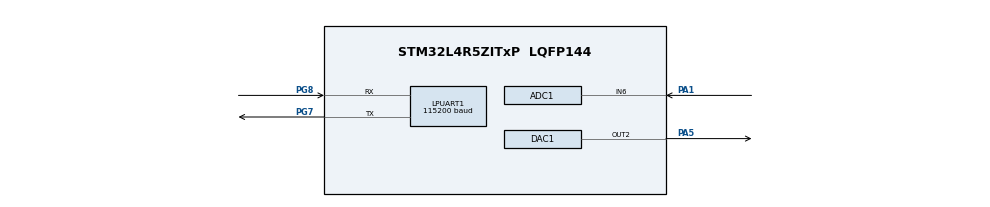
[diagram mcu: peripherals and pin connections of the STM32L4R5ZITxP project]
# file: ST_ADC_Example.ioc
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ADC1.Channel-0\#ChannelRegularConversion=ADC_CHANNEL_6
ADC1.ClockPrescaler=ADC_CLOCK_ASYNC_DIV64
ADC1.ContinuousConvMode=ENABLE
ADC1.NbrOfConversionFlag=1
ADC1.OffsetNumber-0\#ChannelRegularConversion=ADC_OFFSET_NONE
ADC1.Rank-0\#ChannelRegularConversion=1
ADC1.SamplingTime-0\#ChannelRegularConversion=ADC_SAMPLETIME_92CYCLES_5
ADC1.master=1
DAC1.DAC_Channel-DAC_OUT2=DAC_CHANNEL_2
Dma.ADC1.0.Direction=DMA_PERIPH_TO_MEMORY
Dma.ADC1.0.EventEnable=DISABLE
Dma.ADC1.0.Instance=DMA1_Channel1
Dma.ADC1.0.MemDataAlignment=DMA_MDATAALIGN_HALFWORD
Dma.ADC1.0.MemInc=DMA_MINC_ENABLE
Dma.ADC1.0.Mode=DMA_CIRCULAR
Dma.ADC1.0.PeriphDataAlignment=DMA_PDATAALIGN_HALFWORD
Dma.ADC1.0.PeriphInc=DMA_PINC_DISABLE
Dma.ADC1.0.Polarity=HAL_DMAMUX_REQUEST_GEN_RISING
Dma.ADC1.0.Priority=DMA_PRIORITY_LOW
Dma.ADC1.0.RequestNumber=1
Dma.ADC1.0.SignalID=NONE
Dma.ADC1.0.SyncEnable=DISABLE
Dma.ADC1.0.SyncPolarity=HAL_DMAMUX_SYNC_NO_EVENT
Dma.ADC1.0.SyncRequestNumber=1
Dma.ADC1.0.SyncSignalID=NONE
Dma.Request0=ADC1
LPUART1.BaudRate=115200
LPUART1.WordLength=UART_WORDLENGTH_8B
Mcu.Family=STM32L4
Mcu.Name=STM32L4R5ZITxP
Mcu.Package=LQFP144
NVIC.DMA1_Channel1_IRQn=true\:0\:0\:false\:false\:true\:false\:true\:true
NVIC.PriorityGroup=NVIC_PRIORITYGROUP_4
PA0.Signal=S_TIM2_CH1
PA1.Signal=ADCx_IN6
PA10.Signal=USB_OTG_FS_ID
PA13\ (JTMS/SWDIO).Signal=SYS_JTMS-SWDIO
PA14\ (JTCK/SWCLK).Signal=SYS_JTCK-SWCLK
PA3.Signal=ADCx_IN8
PA4.Signal=SPI1_NSS
PA5.Signal=COMP_DAC12_group
PA6.Signal=SPI1_MISO
PA7.Signal=SPI1_MOSI
PA8.Signal=USB_OTG_FS_SOF
PA9.Signal=USB_OTG_FS_VBUS
PB0.Signal=S_TIM3_CH3
PB1.Signal=ADCx_IN16
PB10.Signal=S_TIM2_CH3
PB12.Signal=SAI2_FS_A
PB13.Signal=SAI2_SCK_A
PB14.Signal=S_TIM15_CH1
PB15.Signal=SAI2_SD_A
PB2.Signal=COMP1_INP
PB3\ (JTDO/TRACESWO).Signal=SPI3_SCK
PB4\ (NJTRST).Signal=SPI3_MISO
PB5.Signal=SPI3_MOSI
PB6.Signal=COMP2_INP
PB8.Signal=I2C1_SCL
PB9.Signal=I2C1_SDA
PC0.Signal=ADCx_IN1
PC1.Signal=ADCx_IN2
PC10.Signal=SDMMC1_D2
PC11.Signal=SDMMC1_D3
PC12.Signal=SDMMC1_CK
PC13.Signal=SYS_WKUP2
PC14-OSC32_IN\ (PC14).Signal=RCC_OSC32_IN
PC15-OSC32_OUT\ (PC15).Signal=RCC_OSC32_OUT
PC2.Signal=ADCx_IN3
PC3.Signal=ADCx_IN4
PC4.Signal=ADCx_IN13
PC5.Signal=ADCx_IN14
PC6.Signal=SAI2_MCLK_A
PC7.Signal=S_TIM3_CH2
PC8.Signal=SDMMC1_D0
PC9.Signal=SDMMC1_D1
PD0.Signal=CAN1_RX
PD14.Signal=S_TIM4_CH3
PD15.Signal=S_TIM4_CH4
PD2.Signal=SDMMC1_CMD
PD3.Signal=USART2_CTS
PD4.Signal=USART2_RTS
PD5.Signal=USART2_TX
PD6.Signal=USART2_RX
PD8.Signal=USART3_TX
PD9.Signal=USART3_RX
PE0.Signal=S_TIM4_ETR
PE10.Signal=TIM1_CH2N
PE11.Signal=S_TIM1_CH2
PE12.Signal=TIM1_CH3N
PE13.Signal=S_TIM1_CH3
PE14.Signal=TIM1_BKIN2
PE15.Signal=TIM1_BKIN
PE2.Signal=SAI1_MCLK_A
PE3.Signal=SAI1_SD_B
PE7.Signal=S_TIM1_ETR
PE8.Signal=TIM1_CH1N
PE9.Signal=S_TIM1_CH1
PF0.Signal=I2C2_SDA
PF1.Signal=I2C2_SCL
PF2.Signal=I2C2_SMBA
PF7.Signal=SAI1_MCLK_B
PG7.Mode=Asynchronous
PG7.Signal=LPUART1_TX
PG8.Mode=Asynchronous
PG8.Signal=LPUART1_RX
PH0-OSC_IN\ (PH0).Signal=RCC_OSC_IN
PH1-OSC_OUT\ (PH1).Signal=RCC_OSC_OUT
ProjectManager.HeapSize=0x200
ProjectManager.StackSize=0x400
ProjectManager.TargetToolchain=STM32CubeIDE
RCC.HSE_VALUE=8000000
RCC.HSI48_VALUE=48000000
RCC.HSI_VALUE=16000000
RCC.LSE_VALUE=32768
RCC.MSI_VALUE=4000000
RCC.VCOOutputFreq_Value=32000000
SH.ADCx_IN1.0=ADC1_IN1
SH.ADCx_IN13.0=ADC1_IN13
SH.ADCx_IN14.0=ADC1_IN14
SH.ADCx_IN16.0=ADC1_IN16
SH.ADCx_IN2.0=ADC1_IN2
SH.ADCx_IN3.0=ADC1_IN3
SH.ADCx_IN4.0=ADC1_IN4
SH.ADCx_IN6.0=ADC1_IN6,IN6-Single-Ended
SH.ADCx_IN8.0=ADC1_IN8
SH.COMP_DAC12_group.0=DAC1_OUT2,DAC_OUT2
SH.S_TIM15_CH1.0=TIM15_CH1
SH.S_TIM1_CH1.0=TIM1_CH1
SH.S_TIM1_CH2.0=TIM1_CH2
SH.S_TIM1_CH3.0=TIM1_CH3
SH.S_TIM1_ETR.0=TIM1_ETR
SH.S_TIM2_CH1.0=TIM2_CH1
SH.S_TIM2_CH3.0=TIM2_CH3
SH.S_TIM3_CH2.0=TIM3_CH2
SH.S_TIM3_CH3.0=TIM3_CH3
SH.S_TIM4_CH3.0=TIM4_CH3
SH.S_TIM4_CH4.0=TIM4_CH4
SH.S_TIM4_ETR.0=TIM4_ETR
board=NUCLEO-L4R5ZI-P

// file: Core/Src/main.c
/* USER CODE BEGIN Header */
/**
  ******************************************************************************
  * @file           : main.c
  * @brief          : Main program body
  ******************************************************************************
  * @attention
  *
  * Copyright (c) 2025 STMicroelectronics.
  * All rights reserved.
  *
  * This software is licensed under terms that can be found in the LICENSE file
  * in the root directory of this software component.
  * If no LICENSE file comes with this software, it is provided AS-IS.
  *
  ******************************************************************************
  */
/* USER CODE END Header */
#include "main.h"

/* USER CODE BEGIN Includes */
#include "stdio.h"
#include <inttypes.h>
#include <math.h>

/* USER CODE END Includes */

ADC_HandleTypeDef hadc1;
DMA_HandleTypeDef hdma_adc1;

DAC_HandleTypeDef hdac1;

UART_HandleTypeDef hlpuart1;

/* USER CODE BEGIN PV */
uint32_t value_adc;
uint32_t value_dac=0;
/* USER CODE END PV */

void SystemClock_Config(void);
static void MX_GPIO_Init(void);
static void MX_DMA_Init(void);
static void MX_ADC1_Init(void);
static void MX_DAC1_Init(void);
static void MX_LPUART1_UART_Init(void);

/* USER CODE BEGIN 0 */
int __io_putchar(int ch)
	{
	HAL_UART_Transmit(&hlpuart1, (uint8_t *)&ch, 1, 10);
//	HAL_Delay(5);		// Slow Printing
	return ch;
	}
/* USER CODE END 0 */

int main(void)
{

  /* MCU Configuration--------------------------------------------------------*/

  /* Reset of all peripherals, Initializes the Flash interface and the Systick. */
  HAL_Init();

  /* Configure the system clock */
  SystemClock_Config();

  /* Initialize all configured peripherals */
  MX_GPIO_Init();
  MX_DMA_Init();
  MX_ADC1_Init();
  MX_DAC1_Init();
  MX_LPUART1_UART_Init();
  /* USER CODE BEGIN 2 */
  // https://wiki.st.com/stm32mcu/wiki/Getting_started_with_ADC#Configure_ADC
  HAL_DAC_Start(&hdac1,DAC_CHANNEL_2);
  HAL_ADCEx_Calibration_Start(&hadc1, ADC_SINGLE_ENDED);
  HAL_ADC_Start_DMA(&hadc1,(uint32_t*)&value_adc,1);

// Create a uint16_t array to hold the sin wave, which has 380 uint16_t samples
//  Approximately 100 kHz DAC output capability, and 262 Hz output frequency = 380 samples
  uint16_t sin_wave[380];
// Load the array with the sin wave values ranging from 0 to 4095 (12-bit)
  for(int i=0; i<380; i++) {
      sin_wave[i] = (uint16_t)(2047.5 + 2047.5 * sin(2 * 3.14159 * i / 380));
      printf("t, v: %d, %" PRIu16 "\r\n", i, sin_wave[i]);
    }

  /* USER CODE END 2 */

  /* Infinite loop */
  while (1)
  	{

	/* USER CODE BEGIN 3 */
	  	  printf("Hello DAC-ADC World! ");
	  	  HAL_DAC_SetValue(&hdac1, DAC_CHANNEL_2, DAC_ALIGN_12B_R, value_dac);
	  	  value_dac++;
	  	  if(value_dac>4095) {
	  	    value_dac=0;
	  	  	}
	  	  HAL_ADC_Start(&hadc1);
	  	  HAL_Delay(10);
	 //I google-searched "printf how to print uint32_t?"
	  	  printf("DAC1 OUT2 PA5 set to uint32_t: %" PRIu32 " and ADC1 IN6 PA1 reads uint32_t: %" PRIu32 "\n\r", value_dac, value_adc);
	  }
	  /* USER CODE END 3 */
}

void SystemClock_Config(void)
{
  RCC_OscInitTypeDef RCC_OscInitStruct = {0};
  RCC_ClkInitTypeDef RCC_ClkInitStruct = {0};

  /** Configure the main internal regulator output voltage
  */
  if (HAL_PWREx_ControlVoltageScaling(PWR_REGULATOR_VOLTAGE_SCALE1) != HAL_OK)
  {
    Error_Handler();
  }

  /** Initializes the RCC Oscillators according to the specified parameters
  * in the RCC_OscInitTypeDef structure.
  */
  RCC_OscInitStruct.OscillatorType = RCC_OSCILLATORTYPE_MSI;
  RCC_OscInitStruct.MSIState = RCC_MSI_ON;
  RCC_OscInitStruct.MSICalibrationValue = 0;
  RCC_OscInitStruct.MSIClockRange = RCC_MSIRANGE_6;
  RCC_OscInitStruct.PLL.PLLState = RCC_PLL_NONE;
  if (HAL_RCC_OscConfig(&RCC_OscInitStruct) != HAL_OK)
  {
    Error_Handler();
  }

  /** Initializes the CPU, AHB and APB buses clocks
  */
  RCC_ClkInitStruct.ClockType = RCC_CLOCKTYPE_HCLK|RCC_CLOCKTYPE_SYSCLK
                              |RCC_CLOCKTYPE_PCLK1|RCC_CLOCKTYPE_PCLK2;
  RCC_ClkInitStruct.SYSCLKSource = RCC_SYSCLKSOURCE_MSI;
  RCC_ClkInitStruct.AHBCLKDivider = RCC_SYSCLK_DIV1;
  RCC_ClkInitStruct.APB1CLKDivider = RCC_HCLK_DIV1;
  RCC_ClkInitStruct.APB2CLKDivider = RCC_HCLK_DIV1;

  if (HAL_RCC_ClockConfig(&RCC_ClkInitStruct, FLASH_LATENCY_0) != HAL_OK)
  {
    Error_Handler();
  }
}

static void MX_ADC1_Init(void)
{

  ADC_ChannelConfTypeDef sConfig = {0};

  /** Common config
  */
  hadc1.Instance = ADC1;
  hadc1.Init.ClockPrescaler = ADC_CLOCK_ASYNC_DIV64;
  hadc1.Init.Resolution = ADC_RESOLUTION_12B;
  hadc1.Init.DataAlign = ADC_DATAALIGN_RIGHT;
  hadc1.Init.ScanConvMode = ADC_SCAN_DISABLE;
  hadc1.Init.EOCSelection = ADC_EOC_SINGLE_CONV;
  hadc1.Init.LowPowerAutoWait = DISABLE;
  hadc1.Init.ContinuousConvMode = ENABLE;
  hadc1.Init.NbrOfConversion = 1;
  hadc1.Init.DiscontinuousConvMode = DISABLE;
  hadc1.Init.ExternalTrigConv = ADC_SOFTWARE_START;
  hadc1.Init.ExternalTrigConvEdge = ADC_EXTERNALTRIGCONVEDGE_NONE;
  hadc1.Init.DMAContinuousRequests = DISABLE;
  hadc1.Init.Overrun = ADC_OVR_DATA_PRESERVED;
  hadc1.Init.OversamplingMode = DISABLE;
  if (HAL_ADC_Init(&hadc1) != HAL_OK)
  {
    Error_Handler();
  }

  /** Configure Regular Channel
  */
  sConfig.Channel = ADC_CHANNEL_6;
  sConfig.Rank = ADC_REGULAR_RANK_1;
  sConfig.SamplingTime = ADC_SAMPLETIME_92CYCLES_5;
  sConfig.SingleDiff = ADC_SINGLE_ENDED;
  sConfig.OffsetNumber = ADC_OFFSET_NONE;
  sConfig.Offset = 0;
  if (HAL_ADC_ConfigChannel(&hadc1, &sConfig) != HAL_OK)
  {
    Error_Handler();
  }

}

static void MX_DAC1_Init(void)
{

  DAC_ChannelConfTypeDef sConfig = {0};

  /** DAC Initialization
  */
  hdac1.Instance = DAC1;
  if (HAL_DAC_Init(&hdac1) != HAL_OK)
  {
    Error_Handler();
  }

  /** DAC channel OUT2 config
  */
  sConfig.DAC_SampleAndHold = DAC_SAMPLEANDHOLD_DISABLE;
  sConfig.DAC_Trigger = DAC_TRIGGER_NONE;
  sConfig.DAC_HighFrequency = DAC_HIGH_FREQUENCY_INTERFACE_MODE_DISABLE;
  sConfig.DAC_OutputBuffer = DAC_OUTPUTBUFFER_ENABLE;
  sConfig.DAC_ConnectOnChipPeripheral = DAC_CHIPCONNECT_DISABLE;
  sConfig.DAC_UserTrimming = DAC_TRIMMING_FACTORY;
  if (HAL_DAC_ConfigChannel(&hdac1, &sConfig, DAC_CHANNEL_2) != HAL_OK)
  {
    Error_Handler();
  }

}

static void MX_LPUART1_UART_Init(void)
{

  hlpuart1.Instance = LPUART1;
  hlpuart1.Init.BaudRate = 115200;
  hlpuart1.Init.WordLength = UART_WORDLENGTH_8B;
  hlpuart1.Init.StopBits = UART_STOPBITS_1;
  hlpuart1.Init.Parity = UART_PARITY_NONE;
  hlpuart1.Init.Mode = UART_MODE_TX_RX;
  hlpuart1.Init.HwFlowCtl = UART_HWCONTROL_NONE;
  hlpuart1.Init.OneBitSampling = UART_ONE_BIT_SAMPLE_DISABLE;
  hlpuart1.Init.ClockPrescaler = UART_PRESCALER_DIV1;
  hlpuart1.AdvancedInit.AdvFeatureInit = UART_ADVFEATURE_NO_INIT;
  hlpuart1.FifoMode = UART_FIFOMODE_DISABLE;
  if (HAL_UART_Init(&hlpuart1) != HAL_OK)
  {
    Error_Handler();
  }
  if (HAL_UARTEx_SetTxFifoThreshold(&hlpuart1, UART_TXFIFO_THRESHOLD_1_8) != HAL_OK)
  {
    Error_Handler();
  }
  if (HAL_UARTEx_SetRxFifoThreshold(&hlpuart1, UART_RXFIFO_THRESHOLD_1_8) != HAL_OK)
  {
    Error_Handler();
  }
  if (HAL_UARTEx_DisableFifoMode(&hlpuart1) != HAL_OK)
  {
    Error_Handler();
  }

}

static void MX_DMA_Init(void)
{

  /* DMA controller clock enable */
  __HAL_RCC_DMAMUX1_CLK_ENABLE();
  __HAL_RCC_DMA1_CLK_ENABLE();

  /* DMA interrupt init */
  /* DMA1_Channel1_IRQn interrupt configuration */
  HAL_NVIC_SetPriority(DMA1_Channel1_IRQn, 0, 0);
  HAL_NVIC_EnableIRQ(DMA1_Channel1_IRQn);

}

static void MX_GPIO_Init(void)
{
  GPIO_InitTypeDef GPIO_InitStruct = {0};

  /* GPIO Ports Clock Enable */
  __HAL_RCC_GPIOE_CLK_ENABLE();
  __HAL_RCC_GPIOC_CLK_ENABLE();
  __HAL_RCC_GPIOF_CLK_ENABLE();
  __HAL_RCC_GPIOH_CLK_ENABLE();
  __HAL_RCC_GPIOA_CLK_ENABLE();
  __HAL_RCC_GPIOB_CLK_ENABLE();
  __HAL_RCC_GPIOD_CLK_ENABLE();
  __HAL_RCC_GPIOG_CLK_ENABLE();
  HAL_PWREx_EnableVddIO2();

  /*Configure GPIO pins : PE2 PE3 */
  GPIO_InitStruct.Pin = GPIO_PIN_2|GPIO_PIN_3;
  GPIO_InitStruct.Mode = GPIO_MODE_AF_PP;
  GPIO_InitStruct.Pull = GPIO_NOPULL;
  GPIO_InitStruct.Speed = GPIO_SPEED_FREQ_LOW;
  GPIO_InitStruct.Alternate = GPIO_AF13_SAI1;
  HAL_GPIO_Init(GPIOE, &GPIO_InitStruct);

  /*Configure GPIO pins : PF0 PF1 PF2 */
  GPIO_InitStruct.Pin = GPIO_PIN_0|GPIO_PIN_1|GPIO_PIN_2;
  GPIO_InitStruct.Mode = GPIO_MODE_AF_OD;
  GPIO_InitStruct.Pull = GPIO_NOPULL;
  GPIO_InitStruct.Speed = GPIO_SPEED_FREQ_VERY_HIGH;
  GPIO_InitStruct.Alternate = GPIO_AF4_I2C2;
  HAL_GPIO_Init(GPIOF, &GPIO_InitStruct);

  /*Configure GPIO pin : PF7 */
  GPIO_InitStruct.Pin = GPIO_PIN_7;
  GPIO_InitStruct.Mode = GPIO_MODE_AF_PP;
  GPIO_InitStruct.Pull = GPIO_NOPULL;
  GPIO_InitStruct.Speed = GPIO_SPEED_FREQ_LOW;
  GPIO_InitStruct.Alternate = GPIO_AF13_SAI1;
  HAL_GPIO_Init(GPIOF, &GPIO_InitStruct);

  /*Configure GPIO pin : PA0 */
  GPIO_InitStruct.Pin = GPIO_PIN_0;
  GPIO_InitStruct.Mode = GPIO_MODE_AF_PP;
  GPIO_InitStruct.Pull = GPIO_NOPULL;
  GPIO_InitStruct.Speed = GPIO_SPEED_FREQ_LOW;
  GPIO_InitStruct.Alternate = GPIO_AF1_TIM2;
  HAL_GPIO_Init(GPIOA, &GPIO_InitStruct);

  /*Configure GPIO pins : PA4 PA6 PA7 */
  GPIO_InitStruct.Pin = GPIO_PIN_4|GPIO_PIN_6|GPIO_PIN_7;
  GPIO_InitStruct.Mode = GPIO_MODE_AF_PP;
  GPIO_InitStruct.Pull = GPIO_NOPULL;
  GPIO_InitStruct.Speed = GPIO_SPEED_FREQ_VERY_HIGH;
  GPIO_InitStruct.Alternate = GPIO_AF5_SPI1;
  HAL_GPIO_Init(GPIOA, &GPIO_InitStruct);

  /*Configure GPIO pin : PB0 */
  GPIO_InitStruct.Pin = GPIO_PIN_0;
  GPIO_InitStruct.Mode = GPIO_MODE_AF_PP;
  GPIO_InitStruct.Pull = GPIO_NOPULL;
  GPIO_InitStruct.Speed = GPIO_SPEED_FREQ_LOW;
  GPIO_InitStruct.Alternate = GPIO_AF2_TIM3;
  HAL_GPIO_Init(GPIOB, &GPIO_InitStruct);

  /*Configure GPIO pins : PB2 PB6 */
  GPIO_InitStruct.Pin = GPIO_PIN_2|GPIO_PIN_6;
  GPIO_InitStruct.Mode = GPIO_MODE_ANALOG;
  GPIO_InitStruct.Pull = GPIO_NOPULL;
  HAL_GPIO_Init(GPIOB, &GPIO_InitStruct);

  /*Configure GPIO pins : PE7 PE8 PE9 PE10
                           PE11 PE12 PE13 */
  GPIO_InitStruct.Pin = GPIO_PIN_7|GPIO_PIN_8|GPIO_PIN_9|GPIO_PIN_10
                          |GPIO_PIN_11|GPIO_PIN_12|GPIO_PIN_13;
  GPIO_InitStruct.Mode = GPIO_MODE_AF_PP;
  GPIO_InitStruct.Pull = GPIO_NOPULL;
  GPIO_InitStruct.Speed = GPIO_SPEED_FREQ_LOW;
  GPIO_InitStruct.Alternate = GPIO_AF1_TIM1;
  HAL_GPIO_Init(GPIOE, &GPIO_InitStruct);

  /*Configure GPIO pins : PE14 PE15 */
  GPIO_InitStruct.Pin = GPIO_PIN_14|GPIO_PIN_15;
  GPIO_InitStruct.Mode = GPIO_MODE_AF_PP;
  GPIO_InitStruct.Pull = GPIO_NOPULL;
  GPIO_InitStruct.Speed = GPIO_SPEED_FREQ_LOW;
  GPIO_InitStruct.Alternate = GPIO_AF3_TIM1_COMP1;
  HAL_GPIO_Init(GPIOE, &GPIO_InitStruct);

  /*Configure GPIO pin : PB10 */
  GPIO_InitStruct.Pin = GPIO_PIN_10;
  GPIO_InitStruct.Mode = GPIO_MODE_AF_PP;
  GPIO_InitStruct.Pull = GPIO_NOPULL;
  GPIO_InitStruct.Speed = GPIO_SPEED_FREQ_LOW;
  GPIO_InitStruct.Alternate = GPIO_AF1_TIM2;
  HAL_GPIO_Init(GPIOB, &GPIO_InitStruct);

  /*Configure GPIO pins : PB12 PB13 PB15 */
  GPIO_InitStruct.Pin = GPIO_PIN_12|GPIO_PIN_13|GPIO_PIN_15;
  GPIO_InitStruct.Mode = GPIO_MODE_AF_PP;
  GPIO_InitStruct.Pull = GPIO_NOPULL;
  GPIO_InitStruct.Speed = GPIO_SPEED_FREQ_LOW;
  GPIO_InitStruct.Alternate = GPIO_AF13_SAI2;
  HAL_GPIO_Init(GPIOB, &GPIO_InitStruct);

  /*Configure GPIO pin : PB14 */
  GPIO_InitStruct.Pin = GPIO_PIN_14;
  GPIO_InitStruct.Mode = GPIO_MODE_AF_PP;
  GPIO_InitStruct.Pull = GPIO_NOPULL;
  GPIO_InitStruct.Speed = GPIO_SPEED_FREQ_LOW;
  GPIO_InitStruct.Alternate = GPIO_AF14_TIM15;
  HAL_GPIO_Init(GPIOB, &GPIO_InitStruct);

  /*Configure GPIO pins : PD8 PD9 */
  GPIO_InitStruct.Pin = GPIO_PIN_8|GPIO_PIN_9;
  GPIO_InitStruct.Mode = GPIO_MODE_AF_PP;
  GPIO_InitStruct.Pull = GPIO_NOPULL;
  GPIO_InitStruct.Speed = GPIO_SPEED_FREQ_VERY_HIGH;
  GPIO_InitStruct.Alternate = GPIO_AF7_USART3;
  HAL_GPIO_Init(GPIOD, &GPIO_InitStruct);

  /*Configure GPIO pins : PD14 PD15 */
  GPIO_InitStruct.Pin = GPIO_PIN_14|GPIO_PIN_15;
  GPIO_InitStruct.Mode = GPIO_MODE_AF_PP;
  GPIO_InitStruct.Pull = GPIO_NOPULL;
  GPIO_InitStruct.Speed = GPIO_SPEED_FREQ_LOW;
  GPIO_InitStruct.Alternate = GPIO_AF2_TIM4;
  HAL_GPIO_Init(GPIOD, &GPIO_InitStruct);

  /*Configure GPIO pin : PC6 */
  GPIO_InitStruct.Pin = GPIO_PIN_6;
  GPIO_InitStruct.Mode = GPIO_MODE_AF_PP;
  GPIO_InitStruct.Pull = GPIO_NOPULL;
  GPIO_InitStruct.Speed = GPIO_SPEED_FREQ_LOW;
  GPIO_InitStruct.Alternate = GPIO_AF13_SAI2;
  HAL_GPIO_Init(GPIOC, &GPIO_InitStruct);

  /*Configure GPIO pin : PC7 */
  GPIO_InitStruct.Pin = GPIO_PIN_7;
  GPIO_InitStruct.Mode = GPIO_MODE_AF_PP;
  GPIO_InitStruct.Pull = GPIO_NOPULL;
  GPIO_InitStruct.Speed = GPIO_SPEED_FREQ_LOW;
  GPIO_InitStruct.Alternate = GPIO_AF2_TIM3;
  HAL_GPIO_Init(GPIOC, &GPIO_InitStruct);

  /*Configure GPIO pins : PC8 PC9 PC10 PC11
                           PC12 */
  GPIO_InitStruct.Pin = GPIO_PIN_8|GPIO_PIN_9|GPIO_PIN_10|GPIO_PIN_11
                          |GPIO_PIN_12;
  GPIO_InitStruct.Mode = GPIO_MODE_AF_PP;
  GPIO_InitStruct.Pull = GPIO_NOPULL;
  GPIO_InitStruct.Speed = GPIO_SPEED_FREQ_VERY_HIGH;
  GPIO_InitStruct.Alternate = GPIO_AF12_SDMMC1;
  HAL_GPIO_Init(GPIOC, &GPIO_InitStruct);

  /*Configure GPIO pins : PA8 PA10 */
  GPIO_InitStruct.Pin = GPIO_PIN_8|GPIO_PIN_10;
  GPIO_InitStruct.Mode = GPIO_MODE_AF_PP;
  GPIO_InitStruct.Pull = GPIO_NOPULL;
  GPIO_InitStruct.Speed = GPIO_SPEED_FREQ_VERY_HIGH;
  GPIO_InitStruct.Alternate = GPIO_AF10_OTG_FS;
  HAL_GPIO_Init(GPIOA, &GPIO_InitStruct);

  /*Configure GPIO pin : PA9 */
  GPIO_InitStruct.Pin = GPIO_PIN_9;
  GPIO_InitStruct.Mode = GPIO_MODE_INPUT;
  GPIO_InitStruct.Pull = GPIO_NOPULL;
  HAL_GPIO_Init(GPIOA, &GPIO_InitStruct);

  /*Configure GPIO pin : PD0 */
  GPIO_InitStruct.Pin = GPIO_PIN_0;
  GPIO_InitStruct.Mode = GPIO_MODE_AF_PP;
  GPIO_InitStruct.Pull = GPIO_NOPULL;
  GPIO_InitStruct.Speed = GPIO_SPEED_FREQ_VERY_HIGH;
  GPIO_InitStruct.Alternate = GPIO_AF9_CAN1;
  HAL_GPIO_Init(GPIOD, &GPIO_InitStruct);

  /*Configure GPIO pin : PD2 */
  GPIO_InitStruct.Pin = GPIO_PIN_2;
  GPIO_InitStruct.Mode = GPIO_MODE_AF_PP;
  GPIO_InitStruct.Pull = GPIO_NOPULL;
  GPIO_InitStruct.Speed = GPIO_SPEED_FREQ_VERY_HIGH;
  GPIO_InitStruct.Alternate = GPIO_AF12_SDMMC1;
  HAL_GPIO_Init(GPIOD, &GPIO_InitStruct);

  /*Configure GPIO pins : PD3 PD4 PD5 PD6 */
  GPIO_InitStruct.Pin = GPIO_PIN_3|GPIO_PIN_4|GPIO_PIN_5|GPIO_PIN_6;
  GPIO_InitStruct.Mode = GPIO_MODE_AF_PP;
  GPIO_InitStruct.Pull = GPIO_NOPULL;
  GPIO_InitStruct.Speed = GPIO_SPEED_FREQ_VERY_HIGH;
  GPIO_InitStruct.Alternate = GPIO_AF7_USART2;
  HAL_GPIO_Init(GPIOD, &GPIO_InitStruct);

  /*Configure GPIO pins : PB3 PB4 PB5 */
  GPIO_InitStruct.Pin = GPIO_PIN_3|GPIO_PIN_4|GPIO_PIN_5;
  GPIO_InitStruct.Mode = GPIO_MODE_AF_PP;
  GPIO_InitStruct.Pull = GPIO_NOPULL;
  GPIO_InitStruct.Speed = GPIO_SPEED_FREQ_VERY_HIGH;
  GPIO_InitStruct.Alternate = GPIO_AF6_SPI3;
  HAL_GPIO_Init(GPIOB, &GPIO_InitStruct);

  /*Configure GPIO pins : PB8 PB9 */
  GPIO_InitStruct.Pin = GPIO_PIN_8|GPIO_PIN_9;
  GPIO_InitStruct.Mode = GPIO_MODE_AF_OD;
  GPIO_InitStruct.Pull = GPIO_NOPULL;
  GPIO_InitStruct.Speed = GPIO_SPEED_FREQ_VERY_HIGH;
  GPIO_InitStruct.Alternate = GPIO_AF4_I2C1;
  HAL_GPIO_Init(GPIOB, &GPIO_InitStruct);

  /*Configure GPIO pin : PE0 */
  GPIO_InitStruct.Pin = GPIO_PIN_0;
  GPIO_InitStruct.Mode = GPIO_MODE_AF_PP;
  GPIO_InitStruct.Pull = GPIO_NOPULL;
  GPIO_InitStruct.Speed = GPIO_SPEED_FREQ_LOW;
  GPIO_InitStruct.Alternate = GPIO_AF2_TIM4;
  HAL_GPIO_Init(GPIOE, &GPIO_InitStruct);

}

void Error_Handler(void)
{
  __disable_irq();
  while (1)
  {
  }
}
